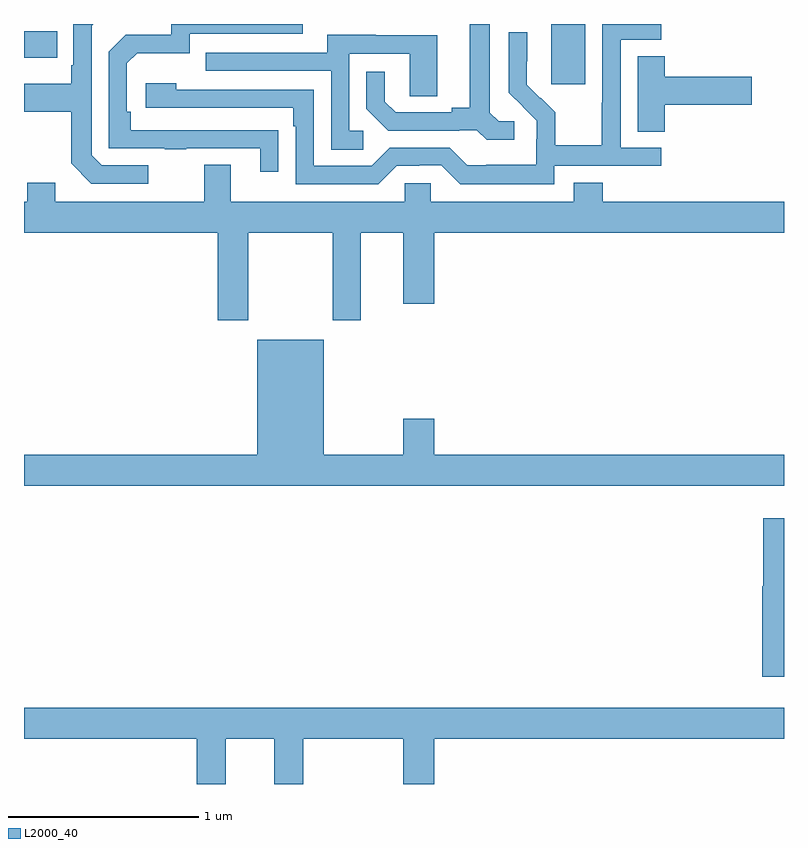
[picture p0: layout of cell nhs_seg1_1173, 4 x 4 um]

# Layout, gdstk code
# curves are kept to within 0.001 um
import gdstk
lib = gdstk.Library(unit=1e-6, precision=1e-09)
def R(c, l, rs):  # rectangles x0, y0, x1, y1
    for r in rs: c.add(gdstk.rectangle(r[:2], r[2:], *l))
def P(c, l, *ps):  # polygons
    for p in ps: c.add(gdstk.Polygon(p, *l))
L2000_40 = (2000, 40)

nhs_seg1_1173 = lib.new_cell('nhs_seg1_1173')
R(nhs_seg1_1173, L2000_40, [(177.776,517.881,177.955,518.199), (175,518.021,175.175,518.161)])
P(nhs_seg1_1173, L2000_40, [(177.58,517.686),(177.498,517.686),(177.451,517.733),(177.451,518.199),(177.347,518.199),(177.347,517.757),(177.251,517.757),(177.251,517.734),(176.956,517.734),(176.899,517.791),(176.899,517.948),(176.802,517.948),(176.802,517.754),(176.918,517.638),(177.29,517.638),(177.29,517.641),(177.384,517.641),(177.436,517.589),(177.58,517.589)],
  [(175.654,517.455),(175.41,517.455),(175.356,517.509),(175.356,518.19),(175.365,518.199),(175.26,518.199),(175.26,517.981),(175.248,517.981),(175.248,517.885),(175,517.885),(175,517.738),(175.248,517.738),(175.248,517.465),(175.353,517.359),(175.654,517.359)],
  [(176.339,517.64),(175.562,517.641),(175.562,517.738),(175.542,517.738),(175.542,517.992),(175.595,518.045),(175.872,518.045),(175.872,518.148),(176.467,518.148),(176.467,518.199),(175.776,518.199),(175.776,518.142),(175.536,518.142),(175.446,518.052),(175.446,517.545),(175.741,517.545),(175.741,517.54),(175.853,517.54),(175.853,517.545),(176.243,517.545),(176.243,517.422),(176.339,517.422)],
  [(177.792,517.452),(178.354,517.452),(178.354,517.548),(178.14,517.548),(178.14,518.115),(178.354,518.115),(178.354,518.199),(178.044,518.199),(178.044,517.784),(178.042,517.784),(178.042,517.561),(177.797,517.561),(177.797,517.735),(177.72,517.812),(177.717,517.809),(177.647,517.88),(177.648,518.156),(177.552,518.156),(177.552,517.838),(177.698,517.69),(177.698,517.593),(177.696,517.593),(177.696,517.459),(177.433,517.459),(177.433,517.455),(177.333,517.455),(177.24,517.548),(176.925,517.548),(176.829,517.452),(176.526,517.452),(176.526,517.854),(175.802,517.854),(175.802,517.888),(175.641,517.888),(175.641,517.758),(176.417,517.758),(176.417,517.661),(176.43,517.661),(176.43,517.356),(176.865,517.356),(176.961,517.452),(177.08,517.452),(177.08,517.455),(177.195,517.455),(177.295,517.355),(177.792,517.355)],
  [(176.785,517.638),(176.712,517.638),(176.712,518.043),(177.03,518.043),(177.03,517.819),(177.175,517.819),(177.175,518.139),(176.851,518.139),(176.851,518.143),(176.597,518.143),(176.597,518.049),(175.957,518.049),(175.957,517.953),(176.616,517.953),(176.616,517.537),(176.785,517.537)],
  [(178.373,517.775),(178.831,517.775),(178.831,517.922),(178.373,517.922),(178.373,518.03),(178.229,518.03),(178.229,517.633),(178.373,517.633)],
  [(176.181,517.1),(176.626,517.1),(176.626,516.639),(176.773,516.639),(176.773,517.1),(176.996,517.1),(176.996,516.726),(177.16,516.726),(177.16,517.1),(179,517.1),(179,517.264),(178.046,517.264),(178.046,517.363),(177.893,517.363),(177.893,517.264),(177.141,517.264),(177.141,517.362),(177.003,517.362),(177.003,517.264),(176.089,517.264),(176.089,517.459),(175.949,517.459),(175.949,517.264),(175.165,517.264),(175.165,517.363),(175.018,517.363),(175.018,517.264),(175,517.264),(175,517.1),(176.021,517.1),(176.021,516.639),(176.181,516.639)],
  [(179,515.932),(177.16,515.932),(177.16,516.121),(176.996,516.121),(176.996,515.932),(176.578,515.932),(176.578,516.538),(176.228,516.538),(176.228,515.932),(175,515.932),(175,515.768),(179,515.768)],
  [(179,515.599),(178.892,515.599),(178.892,515.241),(178.886,515.241),(178.886,514.764),(179,514.764)],
  [(176.062,514.436),(176.318,514.436),(176.318,514.199),(176.471,514.199),(176.471,514.436),(176.996,514.436),(176.996,514.199),(177.16,514.199),(177.16,514.436),(179,514.436),(179,514.6),(175,514.6),(175,514.436),(175.91,514.436),(175.91,514.199),(176.062,514.199)])

lib.write_gds('nhs_seg1_1173.gds')
